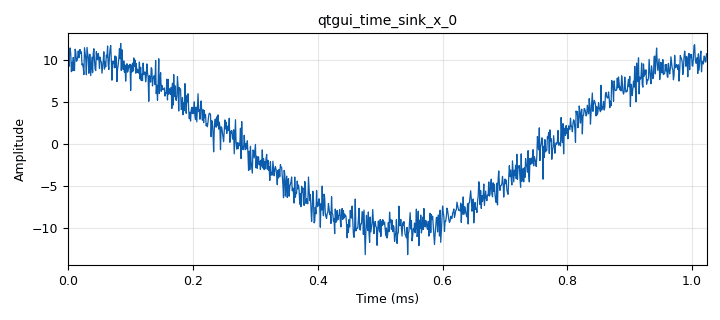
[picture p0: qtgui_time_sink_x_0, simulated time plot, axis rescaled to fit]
<?xml version='1.0' encoding='utf-8'?>
<?grc format='1' created='3.7.10'?>
<flow_graph>
<block>
<key>options</key>
<param><key>id</key><value>signal_to_noise_ratio</value></param>
<param><key>generate_options</key><value>qt_gui</value></param>
</block>
<block>
<key>variable_qtgui_range</key>
<param><key>id</key><value>amp</value></param>
<param><key>value</key><value>10</value></param>
<param><key>label</key><value>Signal Amplitude</value></param>
<param><key>orient</key><value>Qt.Horizontal</value></param>
<param><key>start</key><value>0</value></param>
<param><key>step</key><value>1</value></param>
<param><key>stop</key><value>100</value></param>
</block>
<block>
<key>variable_qtgui_range</key>
<param><key>id</key><value>fr</value></param>
<param><key>value</key><value>1000</value></param>
<param><key>label</key><value>Frequency</value></param>
<param><key>orient</key><value>Qt.Horizontal</value></param>
<param><key>start</key><value>-500000</value></param>
<param><key>step</key><value>100</value></param>
<param><key>stop</key><value>500000</value></param>
</block>
<block>
<key>variable</key>
<param><key>id</key><value>samp_rate</value></param>
<param><key>value</key><value>1000000</value></param>
</block>
<block>
<key>analog_noise_source_x</key>
<param><key>id</key><value>analog_noise_source_x_0</value></param>
<param><key>amp</key><value>1</value></param>
<param><key>noise_type</key><value>analog.GR_GAUSSIAN</value></param>
<param><key>type</key><value>float</value></param>
<param><key>seed</key><value>0</value></param>
</block>
<block>
<key>analog_sig_source_x</key>
<param><key>id</key><value>analog_sig_source_x_0</value></param>
<param><key>amp</key><value>amp</value></param>
<param><key>freq</key><value>fr</value></param>
<param><key>offset</key><value>0</value></param>
<param><key>type</key><value>float</value></param>
<param><key>samp_rate</key><value>samp_rate</value></param>
<param><key>waveform</key><value>analog.GR_COS_WAVE</value></param>
</block>
<block>
<key>blocks_add_xx</key>
<param><key>id</key><value>blocks_add_xx_0</value></param>
<param><key>type</key><value>float</value></param>
</block>
<block>
<key>blocks_throttle</key>
<param><key>id</key><value>blocks_throttle_0</value></param>
<param><key>samples_per_second</key><value>samp_rate</value></param>
<param><key>type</key><value>float</value></param>
</block>
<block>
<key>qtgui_sink_x</key>
<param><key>id</key><value>qtgui_sink_x_0</value></param>
<param><key>bw</key><value>samp_rate</value></param>
<param><key>fc</key><value>0</value></param>
<param><key>freqchangevar</key><value>None</value></param>
<param><key>_enabled</key><value>0</value></param>
<param><key>fftsize</key><value>1024</value></param>
<param><key>showports</key><value>True</value></param>
<param><key>type</key><value>float</value></param>
<param><key>wintype</key><value>firdes.WIN_BLACKMAN_hARRIS</value></param>
</block>
<block>
<key>qtgui_time_sink_x</key>
<param><key>id</key><value>qtgui_time_sink_x_0</value></param>
<param><key>color1</key><value>"blue"</value></param>
<param><key>label1</key><value></value></param>
<param><key>size</key><value>1024</value></param>
<param><key>srate</key><value>samp_rate</value></param>
<param><key>type</key><value>float</value></param>
<param><key>ymax</key><value>amp</value></param>
<param><key>ymin</key><value>-amp</value></param>
</block>
<connection><source_block_id>analog_noise_source_x_0</source_block_id><sink_block_id>blocks_add_xx_0</sink_block_id><source_key>0</source_key><sink_key>1</sink_key></connection>
<connection><source_block_id>analog_sig_source_x_0</source_block_id><sink_block_id>blocks_add_xx_0</sink_block_id><source_key>0</source_key><sink_key>0</sink_key></connection>
<connection><source_block_id>blocks_add_xx_0</source_block_id><sink_block_id>blocks_throttle_0</sink_block_id><source_key>0</source_key><sink_key>0</sink_key></connection>
<connection><source_block_id>blocks_throttle_0</source_block_id><sink_block_id>qtgui_sink_x_0</sink_block_id><source_key>0</source_key><sink_key>0</sink_key></connection>
<connection><source_block_id>blocks_throttle_0</source_block_id><sink_block_id>qtgui_time_sink_x_0</sink_block_id><source_key>0</source_key><sink_key>0</sink_key></connection>
</flow_graph>
